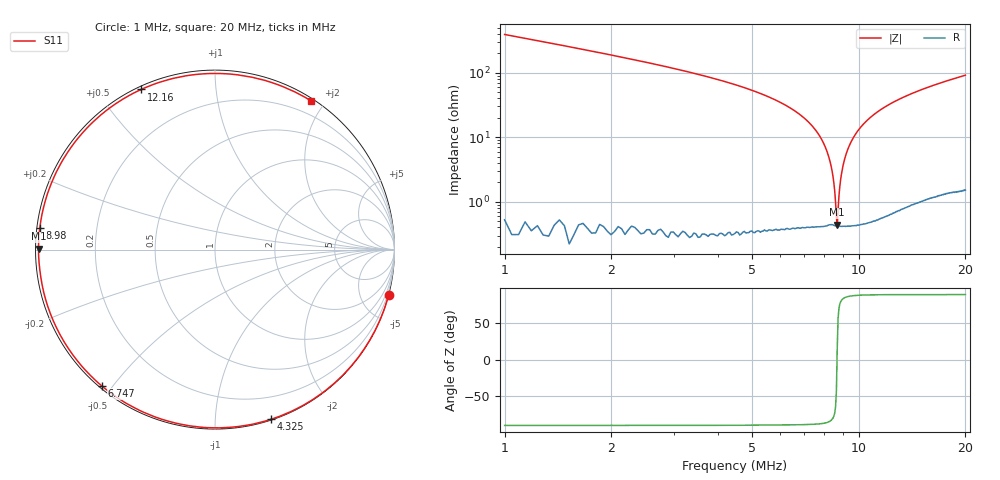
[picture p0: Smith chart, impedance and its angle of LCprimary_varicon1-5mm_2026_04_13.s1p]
# HZ S RI R 50
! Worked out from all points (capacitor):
!   401 points, 1 MHz to 20 MHz, reference 50 ohm
!   read as one part to ground: C = 401 pF near 1.095 MHz
!   lowest |Z| = 440 mohm at 8.695 MHz (marker M1)
!   series resonance near 8.683 MHz, so ESL is about 840 nH
!   S11 on the Smith chart (normalised r, x): 1 MHz: 0.01, -7.82; 4.325 MHz: 0.01, -1.38; 6.747 MHz: 0.01, -0.47; 8.98 MHz: 0.01, +0.06; 12.16 MHz: 0.01, +0.64; 20 MHz: 0.03, +1.83
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1000000  0.9675 -0.2515
1617500  0.9138 -0.4044
2235000  0.8321 -0.5524
2805000  0.7296 -0.6812
3375000  0.5978 -0.7987
3850000  0.4651 -0.8814
4325000  0.3118 -0.9453
4705000  0.175 -0.9789
5085000  0.0284 -0.9932
5750000  -0.243 -0.9607
6225000  -0.4359 -0.8878
6747500  -0.6309 -0.7592
7127500  -0.7531 -0.6362
7460000  -0.8414 -0.5125
7792500  -0.9089 -0.3777
8125000  -0.9547 -0.2365
8695000  -0.9833 0.0052
8980000  -0.976 0.1223
9740000  -0.898 0.4016
1.05e7  -0.7639 0.6199
1.13075e7  -0.5944 0.7835
1.21625e7  -0.4115 0.8924
1.2875e7  -0.268 0.9447
1.392e7  -0.0811 0.9783
1.525e7  0.1144 0.9751
1.639e7  0.2487 0.9505
1.7625e7  0.3662 0.9126
2e7  0.5328 0.8299
